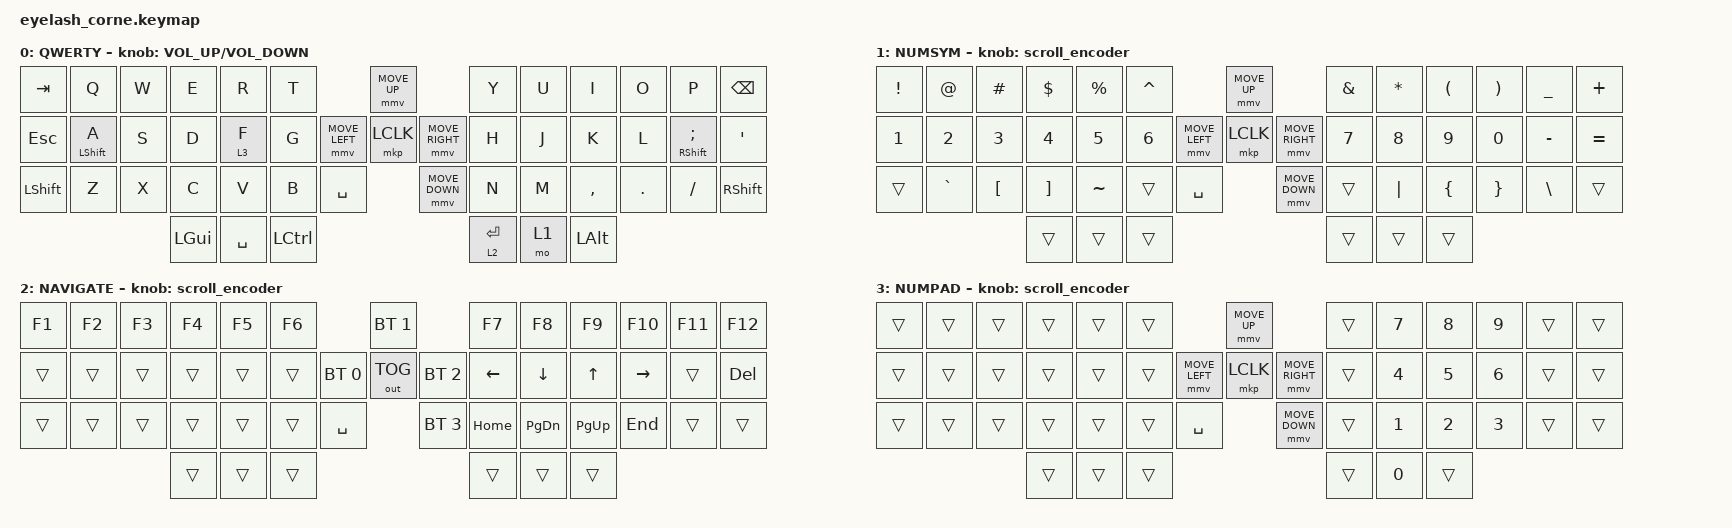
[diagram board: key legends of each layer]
#define ZMK_POINTING_DEFAULT_MOVE_VAL 1200  // 600
#define ZMK_POINTING_DEFAULT_SCRL_VAL 25   // 10

#include <input/processors.dtsi>
#include <zephyr/dt-bindings/input/input-event-codes.h>
#include <behaviors.dtsi>
#include <dt-bindings/zmk/bt.h>
#include <dt-bindings/zmk/keys.h>
#include <dt-bindings/zmk/outputs.h>
#include <dt-bindings/zmk/pointing.h>
#include <dt-bindings/zmk/rgb.h>

&mmv_input_listener { input-processors = <&zip_xy_scaler 2 1>; };

&msc_input_listener { input-processors = <&zip_scroll_scaler 2 1>; };

&msc {
    acceleration-exponent = <1>;      // 0
    time-to-max-speed-ms = <100>;       // 300
    delay-ms = <0>;                   // 0
};

&mmv {
    time-to-max-speed-ms = <500>;
    acceleration-exponent = <1>;
    trigger-period-ms = <16>;
};

/ {
    behaviors {
        td0: td0 {
            compatible = "zmk,behavior-tap-dance";
            display-name = "Shift/Caps Lock Tap Dance";
            #binding-cells = <0>;
            bindings = <&kp LEFT_SHIFT>, <&kp CAPS>;
        };
        mt: mod_tap {
            compatible = "zmk,behavior-hold-tap";
            #binding-cells = <2>;
            flavor = "balanced";
            tapping-term-ms = <200>;
            bindings = <&kp>, <&kp>;
            display-name = "Mod-Tap";
        };
        mtfa: mod_tap_fast {
            compatible = "zmk,behavior-hold-tap";
            #binding-cells = <2>;
            flavor = "balanced";
            retro-tap;
            tapping-term-ms = <170>;
            bindings = <&kp>, <&kp>;
            display-name = "Mod-Tap-Fast";
        };
        lt: layer_tap {
            compatible = "zmk,behavior-hold-tap";
            #binding-cells = <2>;
            flavor = "balanced";
	          tapping-term-ms = <160>; 
            bindings = <&mo>, <&kp>;
            display-name = "Layer-Tap";
        };
        ltfa: layer_tap_fast {
            compatible = "zmk,behavior-hold-tap";
            #binding-cells = <2>;
            flavor = "balanced";
            retro-tap;
	          tapping-term-ms = <140>; 
            bindings = <&mo>, <&kp>;
            display-name = "Layer-Tap-Fast";
        };
    };

    rgb_encoder: rgb_encoder {
        compatible = "zmk,behavior-sensor-rotate";
        #sensor-binding-cells = <0>;
        bindings = <&rgb_ug RGB_BRI>, <&rgb_ug RGB_BRD>;
    };

    scroll_encoder: scroll_encoder {
        compatible = "zmk,behavior-sensor-rotate";
        #sensor-binding-cells = <0>;
        bindings = <&msc SCRL_DOWN>, <&msc SCRL_UP>;

        tap-ms = <100>;
    };

    keymap {
        compatible = "zmk,keymap";

        default_layer {
            display-name = "QWERTY";
            bindings = <
&kp TAB    &kp Q          &kp W  &kp E     &kp R       &kp T                               &mmv MOVE_UP                   &kp Y        &kp U  &kp I      &kp O    &kp P             &kp BSPC
&kp ESC    &mtfa LSHIFT A &kp S  &kp D     &ltfa 3 F   &kp G               &mmv MOVE_LEFT  &mkp LCLK      &mmv MOVE_RIGHT &kp H        &kp J  &kp K      &kp L    &mtfa RSHIFT SEMI &kp SQT
&kp LSHIFT &kp Z          &kp X  &kp C     &kp V       &kp B     &kp SPACE                 &mmv MOVE_DOWN                 &kp N        &kp M  &kp COMMA  &kp DOT  &kp FSLH          &kp RSHIFT
                                 &kp LGUI  &kp SPACE   &kp LCTRL                                                          &lt 2 ENTER  &mo 1  &kp LALT

            >;

             sensor-bindings = <&inc_dec_kp C_VOLUME_UP C_VOLUME_DOWN>;

           
        };

        lower_layer {
            display-name = "NUMSYM";
            bindings = <
&kp EXCL  &kp AT           &kp HASH        &kp DLLR      &kp PRCNT     &kp CARET                           &mmv MOVE_UP                 &kp AMPS         &kp ASTRK        &kp LPAR         &kp RPAR    &kp UNDER  &kp PLUS
&kp N1    &kp N2           &kp N3          &kp N4        &kp N5        &kp N6               &mmv MOVE_LEFT &mkp LCLK    &mmv MOVE_RIGHT &kp N7           &kp N8           &kp N9           &kp N0      &kp MINUS  &kp EQUAL
&trans    &kp GRAVE        &kp LBKT        &kp RBKT      &kp TILDE     &trans    &kp SPACE                 &mmv MOVE_DOWN               &trans           &kp PIPE         &kp LBRC         &kp RBRC    &kp BSLH   &trans
                                          &trans        &trans        &trans                                                           &trans           &trans           &trans

            >;

            sensor-bindings = <&scroll_encoder>;
        };

        raise_layer {
            display-name = "NAVIGATE";
            bindings = <
&kp F1  &kp F2        &kp F3        &kp F4    &kp F5    &kp F6                          &bt BT_SEL 1                   &kp F7   &kp F8    &kp F9    &kp F10   &kp F11 &kp F12
&trans  &trans        &trans        &trans    &trans    &trans            &bt BT_SEL 0  &out OUT_TOG    &bt BT_SEL 2   &kp LEFT &kp DOWN  &kp UP    &kp RIGHT &trans  &kp DEL
&trans  &trans        &trans        &trans    &trans    &trans  &kp SPACE               &bt BT_SEL 3                   &kp HOME &kp PG_DN &kp PG_UP &kp END   &trans  &trans
                                    &trans    &trans    &trans                                                             &trans   &trans     &trans

            >;

            sensor-bindings = <&scroll_encoder>;
        };

        layer_3 {
            display-name = "NUMPAD";
            bindings = <
&trans       &trans       &trans       &trans       &trans       &trans                                  &mmv MOVE_UP                       &trans      &kp N7     &kp N8    &kp N9    &trans &trans
&trans       &trans       &trans       &trans       &trans       &trans                  &mmv MOVE_LEFT  &mkp LCLK       &mmv MOVE_RIGHT    &trans      &kp N4     &kp N5    &kp N6    &trans &trans
&trans       &trans       &trans       &trans       &trans       &trans        &kp SPACE                 &mmv MOVE_DOWN                     &trans      &kp N1     &kp N2    &kp N3    &trans &trans
                                       &trans       &trans       &trans                                                                     &trans      &kp N0     &trans

            >;

            sensor-bindings = <&scroll_encoder>;
        };
    };
};
